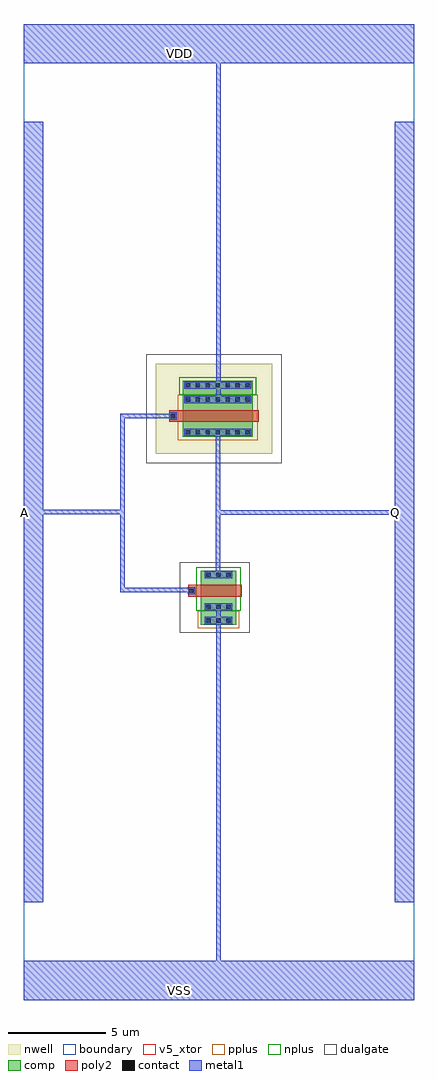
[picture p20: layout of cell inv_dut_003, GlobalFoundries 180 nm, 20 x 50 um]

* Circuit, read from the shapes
.subckt inv_dut_003 A Q VDD VSS
XM1 Q A VSS VSS nfet_05v0 w=1.8u l=0.6u
XM2 VDD A Q VDD pfet_05v0 w=3.6u l=0.6u
.ends

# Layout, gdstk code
from math import pi, radians
import gdstk
lib = gdstk.Library(unit=1e-6, precision=1e-09)
def R(c, l, rs):  # rectangles x0, y0, x1, y1
    for r in rs: c.add(gdstk.rectangle(r[:2], r[2:], *l))
def A(c, l, x, y, w, h, nx, ny, dx, dy):  # array of equal rectangles
    R(c, l, [(x+i*dx, y+j*dy, x+i*dx+w, y+j*dy+h) for i in range(nx) for j in range(ny)])
boundary = (0, 0)
nwell = (21, 0)
comp = (22, 0)
poly2 = (30, 0)
pplus = (31, 0)
nplus = (32, 0)
contact = (33, 0)
metal1 = (34, 0)
dualgate = (55, 0)
v5_xtor = (112, 1)

nfet_16 = lib.new_cell('nfet$16')
R(nfet_16, comp, [(-0.42,0,2.35,1.8)])
R(nfet_16, poly2, [(0.31,-0.3,0.91,2.46)])
R(nfet_16, pplus, [(1.64,-0.17,2.52,1.97)])
R(nfet_16, nplus, [(-0.59,-0.24,1.64,2.04)])
A(nfet_16, contact, -0.32, 0.28, 0.22, 0.22, 1, 3, 0, 0.51)
A(nfet_16, contact, 1.32, 0.28, 0.22, 0.22, 1, 3, 0, 0.51)
A(nfet_16, contact, 2.03, 0.28, 0.22, 0.22, 1, 3, 0, 0.51)
R(nfet_16, contact, [(0.5,2.17,0.72,2.39)])
R(nfet_16, metal1, [(-0.4,0.2,-0.02,1.6), (1.24,0.2,1.62,1.6), (1.95,0.2,2.33,1.6), (0.42,2.09,0.8,2.47)])
R(nfet_16, dualgate, [(-0.84,-0.71,2.77,2.88)])
R(nfet_16, v5_xtor, [(-0.84,-0.71,2.77,2.88)])

pfet_14 = lib.new_cell('pfet$14')
R(pfet_14, nwell, [(-1.32,-1.37,3.27,4.59)])
R(pfet_14, comp, [(-0.46,0,2.41,3.6)])
R(pfet_14, poly2, [(0.31,-0.68,0.91,3.9)])
R(pfet_14, pplus, [(-0.63,-0.24,1.68,3.84)])
R(pfet_14, nplus, [(1.68,-0.17,2.58,3.77)])
A(pfet_14, contact, -0.34, 0.16, 0.22, 0.22, 1, 7, 0, 0.51)
A(pfet_14, contact, 1.34, 0.16, 0.22, 0.22, 1, 7, 0, 0.51)
A(pfet_14, contact, 2.07, 0.16, 0.22, 0.22, 1, 7, 0, 0.51)
R(pfet_14, contact, [(0.5,-0.6,0.72,-0.38)])
R(pfet_14, metal1, [(0.42,-0.68,0.8,-0.3), (-0.42,0.08,-0.04,3.52), (1.26,0.08,1.64,3.52), (1.99,0.08,2.37,3.52)])
R(pfet_14, dualgate, [(-1.82,-1.87,3.77,5.09)])
R(pfet_14, v5_xtor, [(-1.82,-1.87,3.77,5.09)])

inv_dut_003 = lib.new_cell('inv_dut_003')
R(inv_dut_003, boundary, [(-10,-25,10,25)])
R(inv_dut_003, metal1, [(-10,-25,10,-23), (-10,-20,-9,20), (9,-20,10,20), (-10,23,10,25)])
inv_dut_003.add(gdstk.FlexPath([(-2.355,4.92),(-4.95,4.92),(-4.95,-4.005),(-1.355,-4.005)], 0.23, ends="flush", simple_path=True, layer=34, datatype=0))  # metal1
inv_dut_003.add(gdstk.FlexPath([(-4.96,0),(-9.23,0),(-9.23,-0.075)], 0.23, ends="flush", simple_path=True, layer=34, datatype=0))  # metal1
inv_dut_003.add(gdstk.FlexPath([(-0.04,4.13),(-0.04,-3.315)], 0.23, ends="flush", simple_path=True, layer=34, datatype=0))  # metal1
inv_dut_003.add(gdstk.FlexPath([(-0.035,5.78),(-0.035,23.38)], 0.23, ends="flush", simple_path=True, layer=34, datatype=0))  # metal1
inv_dut_003.add(gdstk.FlexPath([(-0.035,-4.695),(-0.035,-23.3)], 0.23, ends="flush", simple_path=True, layer=34, datatype=0))  # metal1
inv_dut_003.add(gdstk.FlexPath([(-0.035,-0.035),(9.02,-0.035)], 0.23, ends="flush", simple_path=True, layer=34, datatype=0))  # metal1
inv_dut_003.add(gdstk.Reference(nfet_16, (0.875,-3.425), rotation=3*pi/2, x_reflection=True))
inv_dut_003.add(gdstk.Reference(pfet_14, (-1.865,4.315), rotation=pi/2, x_reflection=True))
inv_dut_003.add(gdstk.Label('VDD', (-2,23.5), layer=34, texttype=10))
inv_dut_003.add(gdstk.Label('VSS', (-2,-24.5), layer=34, texttype=10))
inv_dut_003.add(gdstk.Label('A', (-9.97,0), layer=34, texttype=10))
inv_dut_003.add(gdstk.Label('Q', (9.03,0), layer=34, texttype=10))

lib.write_gds('inv_dut_003.gds')
